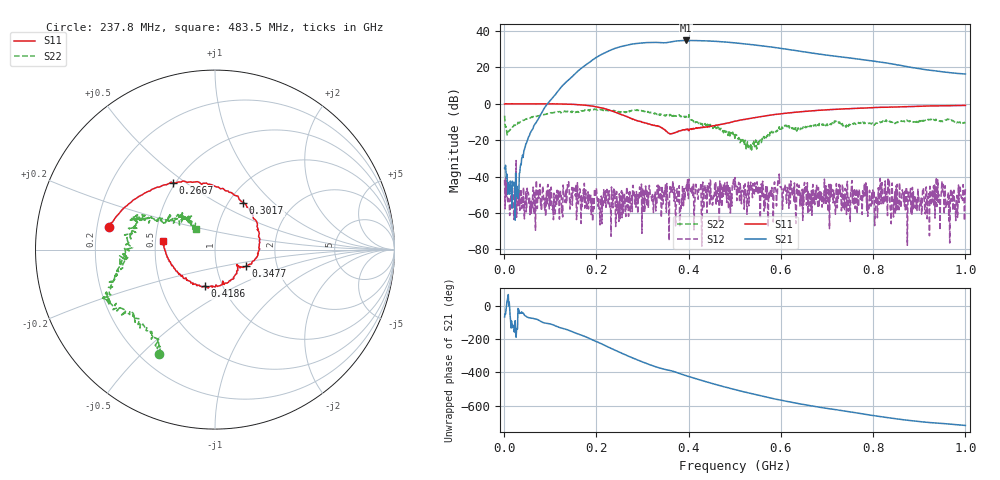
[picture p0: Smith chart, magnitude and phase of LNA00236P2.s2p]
! Created with skrf 1.9.0 (http://scikit-rf.org).
# Hz S RI R 50.0
!freq ReS11 ImS11 ReS21 ImS21 ReS12 ImS12 ReS22 ImS22
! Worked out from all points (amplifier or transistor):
!   1001 points, 1 MHz to 1 GHz, reference 50 ohm
!   highest |S21| = 34.8 dB at 394.6 MHz (marker M1)
!   |S21| within 3 dB of that: 259.3 MHz to 560.3 MHz (300.9 MHz wide, 73.4 % of centre)
!   unconditionally stable (mu >= 1): start of sweep to 93.72 MHz; 232.9 MHz to 278.7 MHz; 279 MHz to end of sweep (the widest 3 of 25)
!   at 166.8 MHz: K = 8.56, MAG = 30.3 dB, |S12| = -65.8 dB
!   at 500.5 MHz: K = 1.19, MAG = 34.4 dB, |S12| = -40.6 dB
!   at 1 GHz: K = 2.91, MAG = 23.9 dB, |S12| = -46.4 dB
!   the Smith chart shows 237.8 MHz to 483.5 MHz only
!   S11 on the Smith chart (normalised r, x): 237.8 MHz: 0.25, +0.10; 266.7 MHz: 0.48, +0.45; 301.7 MHz: 1.17, +0.67; 347.7 MHz: 1.39, -0.27; 418.6 MHz: 0.82, -0.35; 483.5 MHz: 0.55, +0.05
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1000000  0.9837 0.00809  0.00606 -0.0158  -0.00613 0.00529  0.3708 0.2858
1.07893e8  0.5101 -0.8555  -0.758 -1.43  0.00172 0.00303  0.4271 -0.3861
1.67833e8  -0.2728 -0.8867  -9.606 -0.3852  0.00265 -0.00168  0.0331 -0.6373
2.07793e8  -0.6904 -0.3736  -15.09 15.32  0.000256 0.000391  -0.208 -0.668
2.37763e8  -0.5908 0.1277  -3.193 32.32  -0.000234 -0.00452  -0.3146 -0.5804
2.66734e8  -0.2354 0.3715  20.9 35.36  -0.00337 0.000854  -0.4553 -0.3542
3.01699e8  0.1577 0.2612  44.35 16.07  0.000288 0.000949  -0.5769 -0.2091
3.34666e8  0.241 -0.0232  47.15 -10.59  -0.00207 0.00158  -0.5157 -0.0501
3.47653e8  0.172 -0.093  43.97 -18.05  -0.0032 0.00278  -0.475 0.00696
3.7063e8  0.1268 -0.0978  41.44 -32.54  -0.00206 0.00204  -0.4475 0.1369
3.94606e8  0.0718 -0.1834  26.95 -47.9  -0.000526 0.00509  -0.4071 0.194
4.18582e8  -0.0569 -0.2037  8.162 -53.67  0.00351 0.00112  -0.2615 0.1779
4.49551e8  -0.2028 -0.1314  -14.78 -50.41  0.00285 0.00137  -0.1539 0.1793
4.83517e8  -0.2921 0.0456  -33.1 -36.68  0.00671 0.00195  -0.1062 0.1162
5.005e8  -0.2994 0.1476  -38.31 -27.65  0.00671 0.00649  -0.0818 0.0618
5.4046e8  -0.2039 0.3571  -41.11 -6.479  0.00371 0.000511  -0.0762 0.0077
5.85415e8  0.00559 0.5018  -33.46 11.6  -0.000411 -0.00653  -0.1734 -0.0459
6.25375e8  0.2026 0.5399  -22.38 19.59  0.00169 -0.00311  -0.2014 -0.0847
6.67333e8  0.4039 0.4936  -11.47 21.78  -0.000624 -0.00059  -0.2577 0.0067
7.53247e8  0.6835 0.2828  2.835 17.58  0.000814 -0.00654  -0.2578 0.0525
8.34166e8  0.8067 0.0121  8.778 9.404  -0.00388 0.00753  -0.3401 0.0612
1e9  0.7205 -0.5387  6.602 0.1246  -0.00422 -0.00226  -0.1608 0.2516
